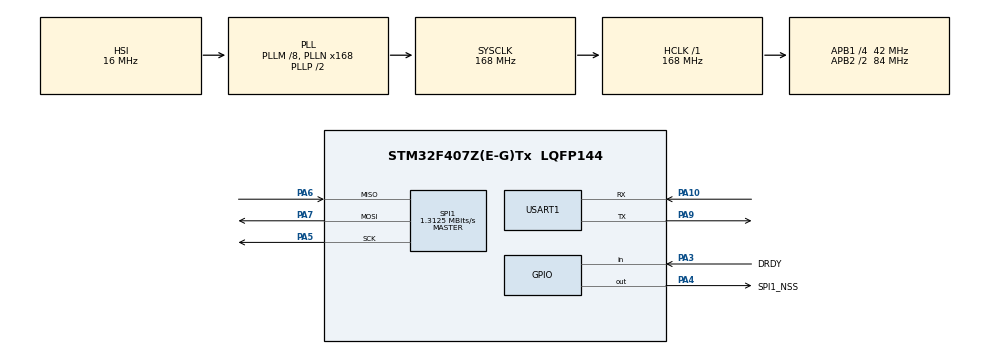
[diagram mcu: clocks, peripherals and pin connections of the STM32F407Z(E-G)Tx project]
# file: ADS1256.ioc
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Mcu.Family=STM32F4
Mcu.Name=STM32F407Z(E-G)Tx
Mcu.Package=LQFP144
NVIC.PriorityGroup=NVIC_PRIORITYGROUP_4
PA10.Mode=Asynchronous
PA10.Signal=USART1_RX
PA13.Mode=Serial_Wire
PA13.Signal=SYS_JTMS-SWDIO
PA14.Mode=Serial_Wire
PA14.Signal=SYS_JTCK-SWCLK
PA3.GPIO_Label=DRDY
PA3.Signal=GPIO_Input
PA4.GPIO_Label=SPI1_NSS
PA4.Signal=GPIO_Output
PA5.Mode=Full_Duplex_Master
PA5.Signal=SPI1_SCK
PA6.Mode=Full_Duplex_Master
PA6.Signal=SPI1_MISO
PA7.Mode=Full_Duplex_Master
PA7.Signal=SPI1_MOSI
PA9.Mode=Asynchronous
PA9.Signal=USART1_TX
PH0-OSC_IN.Mode=HSE-External-Oscillator
PH0-OSC_IN.Signal=RCC_OSC_IN
PH1-OSC_OUT.Mode=HSE-External-Oscillator
PH1-OSC_OUT.Signal=RCC_OSC_OUT
ProjectManager.HeapSize=0x200
ProjectManager.StackSize=0x400
ProjectManager.TargetToolchain=Makefile
RCC.48MHZClocksFreq_Value=84000000
RCC.AHBFreq_Value=168000000
RCC.APB1CLKDivider=RCC_HCLK_DIV4
RCC.APB1Freq_Value=42000000
RCC.APB1TimFreq_Value=84000000
RCC.APB2CLKDivider=RCC_HCLK_DIV2
RCC.APB2Freq_Value=84000000
RCC.APB2TimFreq_Value=168000000
RCC.CortexFreq_Value=168000000
RCC.HCLKFreq_Value=168000000
RCC.HSE_VALUE=25000000
RCC.HSI_VALUE=16000000
RCC.LSE_VALUE=32768
RCC.PLLM=8
RCC.PLLN=168
RCC.SYSCLKFreq_VALUE=168000000
RCC.SYSCLKSource=RCC_SYSCLKSOURCE_PLLCLK
RCC.VCOOutputFreq_Value=336000000
SPI1.BaudRatePrescaler=SPI_BAUDRATEPRESCALER_64
SPI1.CLKPhase=SPI_PHASE_2EDGE
SPI1.CalculateBaudRate=1.3125 MBits/s
SPI1.Direction=SPI_DIRECTION_2LINES
SPI1.Mode=SPI_MODE_MASTER
SPI1.VirtualType=VM_MASTER
USART1.VirtualMode=VM_ASYNC
board=custom

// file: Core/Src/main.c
/* USER CODE BEGIN Header */
/**
  ******************************************************************************
  * @file           : main.c
  * @brief          : Main program body
  ******************************************************************************
  * @attention
  *
  * Copyright (c) 2025 STMicroelectronics.
  * All rights reserved.
  *
  * This software is licensed under terms that can be found in the LICENSE file
  * in the root directory of this software component.
  * If no LICENSE file comes with this software, it is provided AS-IS.
  *
  ******************************************************************************
  */
/* USER CODE END Header */
#include "main.h"
#include "spi.h"
#include "usart.h"
#include "gpio.h"

/* USER CODE BEGIN Includes */
#include "ads1256.h"
#include <stdint.h>
#include <stdio.h>
/* USER CODE END Includes */

/* USER CODE BEGIN PD */
#define NUM_CHANNELS 8
/* USER CODE END PD */

/* USER CODE BEGIN PV */

int32_t adc_values[NUM_CHANNELS];
float voltage_values[NUM_CHANNELS];
ADS1256_HandleTypeDef hads1256;
/* USER CODE END PV */

void SystemClock_Config(void);
/* USER CODE BEGIN PFP */
int _write(int file, char *ptr, int len) {
    HAL_UART_Transmit(&huart1, (uint8_t *)ptr, len, HAL_MAX_DELAY);
    return len;
}
/* USER CODE END PFP */

int main(void) {

  /* MCU Configuration--------------------------------------------------------*/

  /* Reset of all peripherals, Initializes the Flash interface and the Systick.
   */
  HAL_Init();

  /* Configure the system clock */
  SystemClock_Config();

  /* Initialize all configured peripherals */
  MX_GPIO_Init();
  MX_SPI1_Init();
  MX_USART1_UART_Init();
  /* USER CODE BEGIN 2 */
  /* Initialize ADS1256 */
  if (ADS1256_Init(&hads1256, &hspi1, SPI1_NSS_GPIO_Port, SPI1_NSS_Pin,
                   DRDY_GPIO_Port, DRDY_Pin, 0, 0) != HAL_OK) {
    Error_Handler();
  }

  /* Define voltage reference for conversion calculations */
  const float vref = 2.5f; /* Assuming 2.5V reference voltage */
  static int32_t adc_data = 0;
  printf("Init\r\n");
  /* USER CODE END 2 */

  /* Infinite loop */
  /* USER CODE BEGIN WHILE */
  while (1) {
    /* Read all single-ended channels */
    // for (uint8_t i = 0; i < NUM_CHANNELS; i++) {
    //   // if (ADS1256_ReadChannel(&hads1256, i, &adc_values[i]) != HAL_OK) {
    //   //   Error_Handler();
    //   // }

    //   adc_values[i] = ADS1256_ReadData(&hads1256);

    //   /* Convert to voltage (24-bit ADC, range is +/- VREF) */
    //   /* ADS1256 has 24-bit resolution (2^23 - 1 for full scale) */
    //   voltage_values[i] = (float)adc_values[i] * vref / 8388607.0f;

    //   /* Small delay between channel readings */
    //   HAL_Delay(100);
    //   printf("voltage: %f\r\n", voltage_values[i]);
    // }

    adc_data = ADS1256_ReadData(&hads1256);
    float voltage = (float)adc_data * vref / 8388607.0f;
    printf("voltage: %f\r\n", voltage);
    /* Process data here or transmit via UART, etc. */
    /* For this example, we'll just wait before taking more readings */
    HAL_Delay(200);
    /* USER CODE END WHILE */

  }
}

void SystemClock_Config(void)
{
  RCC_OscInitTypeDef RCC_OscInitStruct = {0};
  RCC_ClkInitTypeDef RCC_ClkInitStruct = {0};

  /** Configure the main internal regulator output voltage
  */
  __HAL_RCC_PWR_CLK_ENABLE();
  __HAL_PWR_VOLTAGESCALING_CONFIG(PWR_REGULATOR_VOLTAGE_SCALE1);

  /** Initializes the RCC Oscillators according to the specified parameters
  * in the RCC_OscInitTypeDef structure.
  */
  RCC_OscInitStruct.OscillatorType = RCC_OSCILLATORTYPE_HSI;
  RCC_OscInitStruct.HSIState = RCC_HSI_ON;
  RCC_OscInitStruct.HSICalibrationValue = RCC_HSICALIBRATION_DEFAULT;
  RCC_OscInitStruct.PLL.PLLState = RCC_PLL_ON;
  RCC_OscInitStruct.PLL.PLLSource = RCC_PLLSOURCE_HSI;
  RCC_OscInitStruct.PLL.PLLM = 8;
  RCC_OscInitStruct.PLL.PLLN = 168;
  RCC_OscInitStruct.PLL.PLLP = RCC_PLLP_DIV2;
  RCC_OscInitStruct.PLL.PLLQ = 4;
  if (HAL_RCC_OscConfig(&RCC_OscInitStruct) != HAL_OK)
  {
    Error_Handler();
  }

  /** Initializes the CPU, AHB and APB buses clocks
  */
  RCC_ClkInitStruct.ClockType = RCC_CLOCKTYPE_HCLK|RCC_CLOCKTYPE_SYSCLK
                              |RCC_CLOCKTYPE_PCLK1|RCC_CLOCKTYPE_PCLK2;
  RCC_ClkInitStruct.SYSCLKSource = RCC_SYSCLKSOURCE_PLLCLK;
  RCC_ClkInitStruct.AHBCLKDivider = RCC_SYSCLK_DIV1;
  RCC_ClkInitStruct.APB1CLKDivider = RCC_HCLK_DIV4;
  RCC_ClkInitStruct.APB2CLKDivider = RCC_HCLK_DIV2;

  if (HAL_RCC_ClockConfig(&RCC_ClkInitStruct, FLASH_LATENCY_5) != HAL_OK)
  {
    Error_Handler();
  }
}

void Error_Handler(void)
{
  __disable_irq();
  while (1)
  {
  }
}
